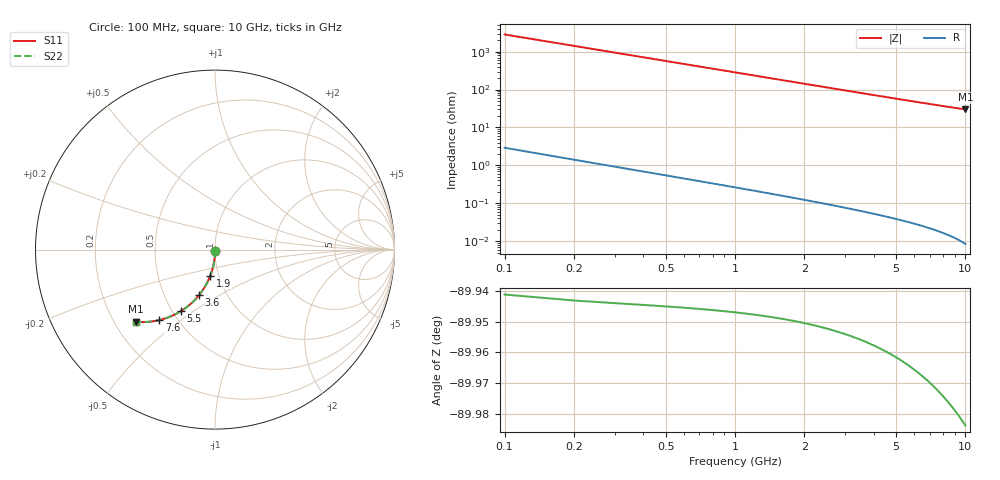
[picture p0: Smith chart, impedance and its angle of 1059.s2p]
# Hz S RI R 50.00
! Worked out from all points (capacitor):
!   100 points, 100 MHz to 10 GHz, reference 50 ohm
!   read as one part in shunt: C = 559 fF near 100 MHz
!   lowest |Z| = 30 ohm at 10 GHz (marker M1)
!   S11 on the Smith chart (normalised r, x): 100 MHz: 1.00, -0.02; 1.9 GHz: 0.91, -0.27; 3.6 GHz: 0.74, -0.41; 5.5 GHz: 0.55, -0.45; 7.6 GHz: 0.40, -0.42; 10 GHz: 0.29, -0.36
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1e8  0.000816 -0.00785  0.999 -0.00972  0.999 -0.00972  0.000816 -0.00785
2e8  0.000585 -0.0157  0.9988 -0.0194  0.9988 -0.0194  0.000585 -0.0157
3e8  0.000199 -0.0235  0.9984 -0.0291  0.9984 -0.0291  0.000199 -0.0235
4e8  -0.000339 -0.0314  0.9978 -0.0388  0.9978 -0.0388  -0.000339 -0.0314
5e8  -0.00103 -0.0392  0.9971 -0.0485  0.9971 -0.0485  -0.00103 -0.0392
6e8  -0.00187 -0.047  0.9962 -0.0582  0.9962 -0.0582  -0.00187 -0.047
8e8  -0.00401 -0.0625  0.994 -0.0774  0.994 -0.0774  -0.00401 -0.0625
1.1e9  -0.00832 -0.0855  0.9896 -0.106  0.9896 -0.106  -0.00832 -0.0855
1.4e9  -0.0139 -0.1082  0.9838 -0.1343  0.9838 -0.1343  -0.0139 -0.1082
1.8e9  -0.0234 -0.1376  0.9742 -0.1712  0.9742 -0.1712  -0.0234 -0.1376
1.9e9  -0.0261 -0.1448  0.9714 -0.1803  0.9714 -0.1803  -0.0261 -0.1448
2.2e9  -0.0349 -0.166  0.9623 -0.2071  0.9623 -0.2071  -0.0349 -0.166
2.6e9  -0.0485 -0.1932  0.9484 -0.2418  0.9484 -0.2418  -0.0485 -0.1932
3.4e9  -0.0808 -0.2432  0.9152 -0.3068  0.9152 -0.3068  -0.0808 -0.2432
3.6e9  -0.0898 -0.2547  0.9059 -0.3221  0.9059 -0.3221  -0.0898 -0.2547
4.3e9  -0.1239 -0.2916  0.8708 -0.3722  0.8708 -0.3722  -0.1239 -0.2916
5.1e9  -0.1666 -0.3271  0.8268 -0.4228  0.8268 -0.4228  -0.1666 -0.3271
5.5e9  -0.1889 -0.3422  0.8037 -0.4454  0.8037 -0.4454  -0.1889 -0.3422
6.7e9  -0.2581 -0.3767  0.7318 -0.5028  0.7318 -0.5028  -0.2581 -0.3767
7.6e9  -0.3103 -0.3927  0.6773 -0.5362  0.6773 -0.5362  -0.3103 -0.3927
8.4e9  -0.3556 -0.4007  0.6295 -0.5598  0.6295 -0.5598  -0.3556 -0.4007
1e10  -0.441 -0.4017  0.5384 -0.5922  0.5384 -0.5922  -0.441 -0.4017
